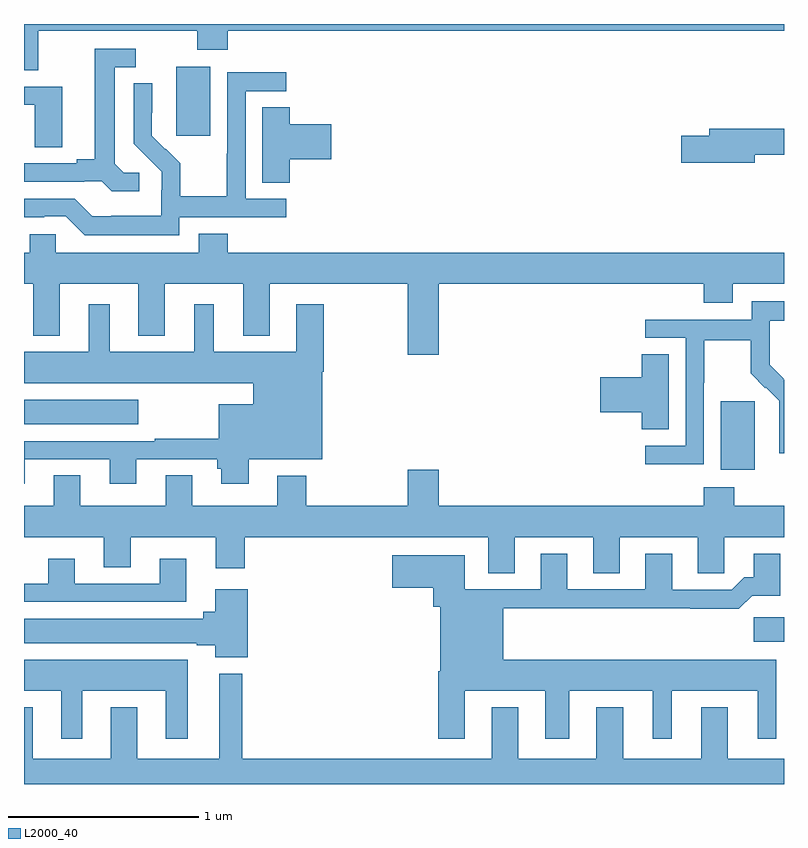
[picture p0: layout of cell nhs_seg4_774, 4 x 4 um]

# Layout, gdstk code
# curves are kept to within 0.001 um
import gdstk
lib = gdstk.Library(unit=1e-6, precision=1e-09)
def R(c, l, rs):  # rectangles x0, y0, x1, y1
    for r in rs: c.add(gdstk.rectangle(r[:2], r[2:], *l))
def P(c, l, *ps):  # polygons
    for p in ps: c.add(gdstk.Polygon(p, *l))
L2000_40 = (2000, 40)

nhs_seg4_774 = lib.new_cell('nhs_seg4_774')
R(nhs_seg4_774, L2000_40, [(154.842,749.648,155,749.777), (154.667,750.554,154.846,750.915), (151,750.794,151.6,750.922), (151.802,752.313,151.981,752.674)])
P(nhs_seg4_774, L2000_40, [(151.075,752.864),(151.912,752.864),(151.912,752.765),(152.072,752.765),(152.072,752.864),(155,752.864),(155,752.9),(151,752.9),(151,752.656),(151.075,752.656)],
  [(151.606,752.118),(151.524,752.118),(151.477,752.165),(151.477,752.673),(151.588,752.673),(151.588,752.769),(151.373,752.769),(151.373,752.189),(151.277,752.189),(151.277,752.166),(151,752.166),(151,752.07),(151.316,752.07),(151.316,752.073),(151.41,752.073),(151.462,752.021),(151.606,752.021)],
  [(151.818,751.884),(152.38,751.884),(152.38,751.98),(152.166,751.98),(152.166,752.547),(152.38,752.547),(152.38,752.646),(152.07,752.646),(152.07,752.216),(152.068,752.216),(152.068,751.993),(151.823,751.993),(151.823,752.167),(151.746,752.244),(151.743,752.241),(151.673,752.312),(151.674,752.588),(151.578,752.588),(151.578,752.27),(151.724,752.122),(151.724,752.025),(151.722,752.025),(151.722,751.891),(151.459,751.891),(151.459,751.887),(151.359,751.887),(151.266,751.98),(151,751.98),(151,751.884),(151.106,751.884),(151.106,751.887),(151.221,751.887),(151.321,751.787),(151.818,751.787)],
  [(151.201,752.571),(151,752.571),(151,752.475),(151.056,752.475),(151.056,752.251),(151.201,752.251)],
  [(152.399,752.189),(152.617,752.189),(152.617,752.372),(152.399,752.372),(152.399,752.462),(152.255,752.462),(152.255,752.065),(152.399,752.065)],
  [(154.846,752.212),(155,752.212),(155,752.348),(154.607,752.348),(154.607,752.312),(154.458,752.312),(154.458,752.17),(154.846,752.17)],
  [(153.184,751.532),(154.577,751.532),(154.577,751.433),(154.729,751.433),(154.729,751.532),(155,751.532),(155,751.696),(152.072,751.696),(152.072,751.795),(151.919,751.795),(151.919,751.696),(151.167,751.696),(151.167,751.794),(151.029,751.794),(151.029,751.696),(151,751.696),(151,751.532),(151.049,751.532),(151.049,751.259),(151.189,751.259),(151.189,751.532),(151.601,751.532),(151.601,751.259),(151.741,751.259),(151.741,751.532),(152.153,751.532),(152.153,751.259),(152.293,751.259),(152.293,751.532),(153.02,751.532),(153.02,751.158),(153.184,751.158)],
  [(154.578,751.012),(154.581,751.012),(154.581,751.236),(154.825,751.236),(154.825,751.061),(154.902,750.984),(154.905,750.987),(154.976,750.917),(154.976,750.794),(154.974,750.794),(154.974,750.64),(155,750.64),(155,751.028),(154.997,751.031),(154.998,751.032),(154.924,751.106),(154.924,751.203),(154.926,751.203),(154.926,751.337),(155,751.337),(155,751.441),(154.83,751.441),(154.83,751.344),(154.269,751.344),(154.269,751.248),(154.482,751.248),(154.482,750.681),(154.269,750.681),(154.269,750.583),(154.578,750.583)],
  [(151.003,750.609),(151.451,750.609),(151.451,750.48),(151.591,750.48),(151.591,750.609),(152.017,750.609),(152.017,750.558),(152.039,750.558),(152.039,750.48),(152.182,750.48),(152.182,750.608),(152.569,750.608),(152.569,751.07),(152.577,751.07),(152.577,751.426),(152.432,751.426),(152.432,751.174),(151.999,751.174),(151.999,751.426),(151.895,751.426),(151.895,751.174),(151.45,751.174),(151.45,751.426),(151.34,751.426),(151.34,751.174),(151,751.174),(151,751.01),(152.207,751.01),(152.207,750.898),(152.024,750.898),(152.024,750.718),(151.687,750.718),(151.687,750.705),(151,750.705),(151,750.48),(151.003,750.48)],
  [(154.393,751.163),(154.25,751.163),(154.25,751.04),(154.032,751.04),(154.032,750.857),(154.25,750.857),(154.25,750.766),(154.393,750.766)],
  [(153.583,750.2),(153.995,750.2),(153.995,750.01),(154.135,750.01),(154.135,750.2),(154.547,750.2),(154.547,750.01),(154.686,750.01),(154.686,750.2),(155,750.2),(155,750.364),(154.737,750.364),(154.737,750.463),(154.577,750.463),(154.577,750.364),(153.184,750.364),(153.184,750.553),(153.02,750.553),(153.02,750.364),(152.486,750.364),(152.486,750.523),(152.333,750.523),(152.333,750.364),(151.885,750.364),(151.885,750.524),(151.745,750.524),(151.745,750.364),(151.297,750.364),(151.297,750.524),(151.157,750.524),(151.157,750.364),(151,750.364),(151,750.2),(151.421,750.2),(151.421,750.04),(151.561,750.04),(151.561,750.2),(152.009,750.2),(152.009,750.036),(152.162,750.036),(152.162,750.2),(153.443,750.2),(153.443,750.01),(153.583,750.01)],
  [(153.319,749.39),(153.743,749.39),(153.743,749.139),(153.871,749.139),(153.871,749.39),(154.31,749.39),(154.31,749.139),(154.408,749.139),(154.408,749.39),(154.862,749.39),(154.862,749.139),(154.96,749.139),(154.96,749.554),(153.523,749.554),(153.523,749.824),(154.507,749.824),(154.507,749.822),(154.763,749.822),(154.832,749.891),(154.981,749.891),(154.981,750.112),(154.841,750.112),(154.841,749.989),(154.792,749.989),(154.725,749.922),(154.411,749.922),(154.411,750.112),(154.271,750.112),(154.271,749.925),(153.859,749.925),(153.859,750.112),(153.719,750.112),(153.719,749.925),(153.319,749.925),(153.319,750.103),(152.937,750.103),(152.937,749.933),(153.155,749.933),(153.155,749.832),(153.191,749.832),(153.191,749.494),(153.179,749.494),(153.179,749.139),(153.319,749.139)],
  [(151.855,750.085),(151.715,750.085),(151.715,749.955),(151.267,749.955),(151.267,750.085),(151.127,750.085),(151.127,749.955),(151,749.955),(151,749.859),(151.855,749.859)],
  [(152.177,749.926),(152.006,749.926),(152.006,749.806),(151.943,749.806),(151.943,749.77),(151,749.77),(151,749.642),(151.91,749.642),(151.91,749.63),(152.006,749.63),(152.006,749.566),(152.177,749.566)],
  [(151.306,749.39),(151.745,749.39),(151.745,749.139),(151.861,749.139),(151.861,749.554),(151,749.554),(151,749.39),(151.196,749.39),(151.196,749.139),(151.306,749.139)],
  [(155,749.032),(154.705,749.032),(154.705,749.305),(154.565,749.305),(154.565,749.032),(154.153,749.032),(154.153,749.305),(154.013,749.305),(154.013,749.032),(153.601,749.032),(153.601,749.305),(153.461,749.305),(153.461,749.032),(152.149,749.032),(152.149,749.481),(152.027,749.481),(152.027,749.032),(151.597,749.032),(151.597,749.305),(151.457,749.305),(151.457,749.032),(151.045,749.032),(151.045,749.305),(151,749.305),(151,748.9),(155,748.9)])

lib.write_gds('nhs_seg4_774.gds')
